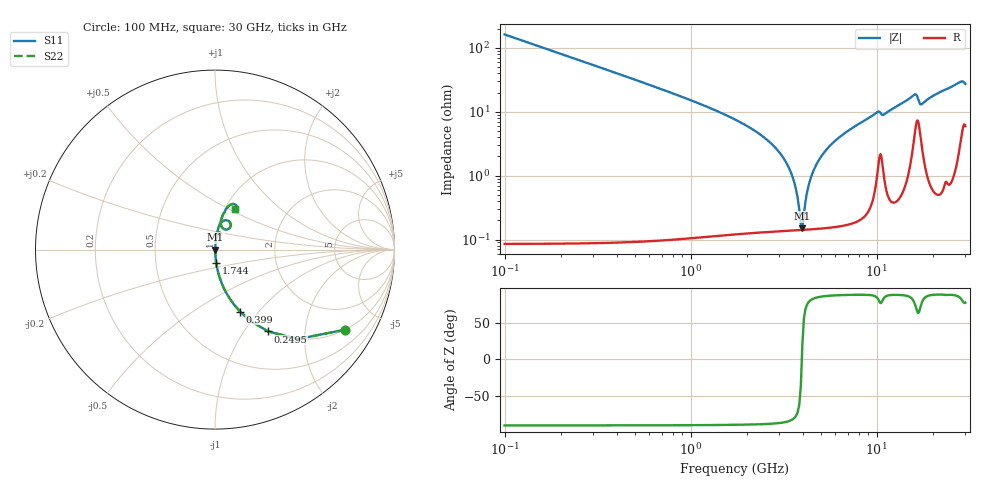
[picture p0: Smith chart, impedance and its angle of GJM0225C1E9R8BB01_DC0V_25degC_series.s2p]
!Murata Part Number: GJM0225C1E9R8BB01
!These Parameters are Measured in Series Mode Connection
!  o--ll--o
!Port1  Port2
!  o------o
!Operation Temp=25[degC], DC Bias Voltage=0[V]
!Freq. Start=100[MHz] Stop=30[GHz], 401[Steps]
!Data Generated on Feb 1, 2023
# Hz S RI R 50
!Freq.(Hz) S11(Real) S11(Imag) S21(Real) S21(Imag) S12(Real) S12(Imag) S22(Real) S22(Imag)
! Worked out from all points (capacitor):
!   401 points, 100 MHz to 30 GHz, reference 50 ohm
!   read as one part in series: C = 9.8 pF near 249.5 MHz
!   lowest |Z| = 150 mohm at 3.987 GHz (marker M1)
!   series resonance near 3.963 GHz, so ESL is about 160 pH
!   S11 on the Smith chart (normalised r, x): 100 MHz: 1.00, -3.25; 249.5 MHz: 1.00, -1.30; 399 MHz: 1.00, -0.81; 1.744 GHz: 1.00, -0.15; 30 GHz: 1.12, +0.53
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1e8  0.7247 -0.4464  0.2753 0.4464  0.2753 0.4464  0.7247 -0.4464
2.495e8  0.2961 -0.4559  0.7039 0.4559  0.7039 0.4559  0.2961 -0.4559
3.99e8  0.1401 -0.346  0.8599 0.346  0.8599 0.346  0.1401 -0.346
9.2225e8  0.0279 -0.1616  0.9721 0.1616  0.9721 0.1616  0.0279 -0.1616
1.7445e9  0.00676 -0.0743  0.9932 0.0743  0.9932 0.0743  0.00676 -0.0743
2.71625e9  0.00232 -0.0315  0.9977 0.0315  0.9977 0.0315  0.00232 -0.0315
3.2395e9  0.00164 -0.0166  0.9984 0.0166  0.9984 0.0166  0.00164 -0.0166
3.5385e9  0.00147 -0.00927  0.9985 0.00927  0.9985 0.00927  0.00147 -0.00927
3.8375e9  0.00141 -0.00262  0.9986 0.00262  0.9986 0.00262  0.00141 -0.00262
3.987e9  0.00141 0.000505  0.9986 -0.000505  0.9986 -0.000505  0.00141 0.000505
4.06175e9  0.00142 0.00203  0.9986 -0.00203  0.9986 -0.00203  0.00142 0.00203
4.4355e9  0.00153 0.00926  0.9985 -0.00926  0.9985 -0.00926  0.00153 0.00926
5.10825e9  0.00193 0.0211  0.9981 -0.0211  0.9981 -0.0211  0.00193 0.0211
6.8275e9  0.00392 0.0473  0.9961 -0.0473  0.9961 -0.0473  0.00392 0.0473
1.01165e10  0.0206 0.0956  0.9794 -0.0956  0.9794 -0.0956  0.0206 0.0956
1.0864e10  0.019 0.086  0.981 -0.086  0.981 -0.086  0.019 0.086
1.505e10  0.0375 0.1538  0.9625 -0.1538  0.9625 -0.1538  0.0375 0.1538
1.617125e10  0.0788 0.1568  0.9212 -0.1568  0.9212 -0.1568  0.0788 0.1568
1.72925e10  0.0494 0.1148  0.9506 -0.1148  0.9506 -0.1148  0.0494 0.1148
2.005825e10  0.0356 0.1696  0.9644 -0.1696  0.9644 -0.1696  0.0356 0.1696
2.50665e10  0.0623 0.2265  0.9377 -0.2265  0.9377 -0.2265  0.0623 0.2265
3e10  0.1125 0.2235  0.8875 -0.2235  0.8875 -0.2235  0.1125 0.2235
